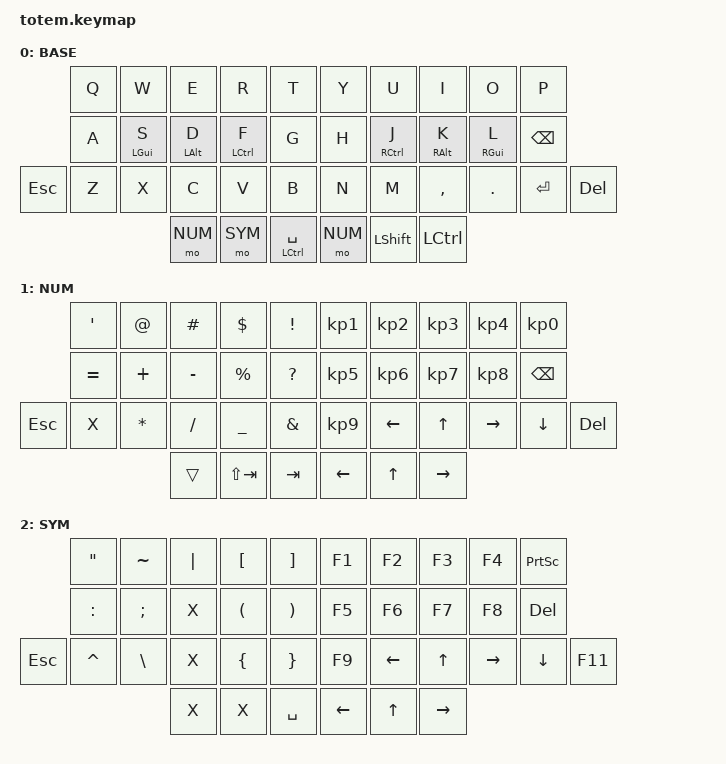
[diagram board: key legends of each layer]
//
//                                                        ▀▀▀▀▀     ▀▀▀▀▀          ▀▀█▀▀
//                                                        ▄▀▀▀▄  ▄  ▄▀▀▀▄  ▄  ▄▀▀▀▄  █  ▄▀▀▀▄
//                                                        █   █  █  █   █  █  █   █  █  █   █
//                                                         ▀▀▀   █   ▀▀▀   █   ▀▀▀   ▀   ▀▀▀
//                                                               █      ▄▄▄█▄▄▄    █   █  
//                                                               ▀      █  █  █     █▄█
//                                                             ▀▀▀▀▀    █  █  █      ▀
//                                                                      ▀  ▀  ▀
//
// ▄▄▄▄▄▄▄▄▄▄▄▄▄▄▄▄▄▄▄▄▄▄▄▄▄▄▄▄▄▄▄▄▄▄▄▄▄▄▄▄▄▄▄▄▄▄▄▄▄▄▄▄▄▄▄▄▄▄▄▄▄▄▄▄▄▄▄▄▄▄▄▄▄▄▄▄▄▄▄▄▄▄▄▄▄▄▄▄▄▄▄▄▄▄▄▄▄▄▄▄▄▄▄▄▄▄▄▄▄▄▄▄▄▄▄▄▄▄▄▄▄▄▄▄▄▄▄▄▄▄▄▄▄▄▄▄▄▄▄▄▄▄▄▄▄▄▄▄▄
       

#include <behaviors.dtsi>
#include <dt-bindings/zmk/keys.h>
#include <dt-bindings/zmk/bt.h>
#include <dt-bindings/zmk/outputs.h>

#define BASE 0
#define NUM  1
#define SYM  2

#define COMBO(NAME, BINDINGS, KEYPOS) \
  combo_##NAME { \
    timeout-ms = <50>; \
    bindings = <BINDINGS>; \
    key-positions = <KEYPOS>; \
    layers = <0>; \
  };

&mt {
  quick-tap-ms = <100>;
  global-quick-tap;
  flavor = "tap-preferred";
  tapping-term-ms = <250>;
  require-prior-idle-ms = <500>;
};


/ {
     combos {
        compatible = "zmk,combos";
        COMBO( date, &m_date, 0 1 2 )
        COMBO( esc, &kp ESC, 3 4 )
    };

    macros {

        ZMK_MACRO(m_date,
                wait-ms = <30>;
                tap-ms = <40>;
                bindings = <&kp N2 &kp N0 &kp N1 &kp N1 &kp N1 &kp N1>;
        )

    };

keymap { compatible = "zmk,keymap";

// ▄▄▄▄▄▄▄▄▄▄▄▄▄▄▄▄▄▄▄▄▄▄▄▄▄▄▄▄▄▄▄▄▄▄▄▄▄▄▄▄▄▄▄▄▄▄▄▄▄▄▄▄▄▄▄▄▄▄▄▄▄▄▄▄▄▄▄▄▄▄▄▄▄▄▄▄▄▄▄▄▄▄▄▄▄▄▄▄▄▄▄▄▄▄▄▄▄▄▄▄▄▄▄▄▄▄▄▄▄▄▄▄▄▄▄▄▄▄▄▄▄▄▄▄▄▄▄▄▄▄▄▄▄▄▄▄▄▄▄▄▄▄▄▄▄▄▄▄▄
base_layer {  label= "BASE"; bindings = <

                &kp Q       &kp W       &kp E       &kp R       &kp T           &kp Y       &kp U       &kp I       &kp O       &kp P 
                &kp A       &mt LGUI S  &mt LALT D  &mt LCTRL F &kp G           &kp H       &mt RCTRL J &mt RALT K  &mt RGUI L  &kp BSPC
    &kp ESC     &kp Z       &kp X       &kp C       &kp V       &kp B           &kp N       &kp M       &kp COMMA   &kp DOT     &kp RET     &kp DEL        
                                        &mo NUM     &mo SYM     &mt LCTL SPACE  &mo NUM     &kp LSHIFT  &kp LCTRL

>;}; // ▄▄▄▄▄▄▄▄▄▄▄▄▄▄▄▄▄▄▄▄▄▄▄▄▄▄▄▄▄▄▄▄▄▄▄▄▄▄▄▄▄▄▄▄▄▄▄▄▄▄▄▄▄▄▄▄▄▄▄▄▄▄▄▄▄▄▄▄▄▄▄▄▄▄▄▄▄▄▄▄▄▄▄▄▄▄▄▄▄▄▄▄▄▄▄▄▄▄▄▄▄▄▄▄▄▄▄▄▄▄▄▄▄▄▄▄▄▄▄▄▄▄▄▄▄▄▄▄▄▄▄▄▄▄▄▄▄▄▄▄▄▄▄▄▄▄▄▄▄
num_layer { label= "NUM"; bindings = <

                &kp SQT     &kp AT    &kp HASH     &kp DLLR     &kp EXCL        &kp KP_N1   &kp KP_N2   &kp KP_N3   &kp KP_N4    &kp KP_N0
                &kp EQUAL   &kp PLUS  &kp MINUS    &kp PRCNT    &kp QMARK       &kp KP_N5   &kp KP_N6   &kp KP_N7   &kp KP_N8    &kp BSPC
    &kp ESC     &kp X       &kp STAR  &kp SLASH    &kp UNDER    &kp AMPS        &kp KP_N9   &kp LEFT    &kp UP      &kp RIGHT    &kp DOWN    &kp DEL    
                                        &trans     &kp LS(TAB)  &kp TAB         &kp LEFT    &kp UP      &kp RIGHT      

>;}; // ▄▄▄▄▄▄▄▄▄▄▄▄▄▄▄▄▄▄▄▄▄▄▄▄▄▄▄▄▄▄▄▄▄▄▄▄▄▄▄▄▄▄▄▄▄▄▄▄▄▄▄▄▄▄▄▄▄▄▄▄▄▄▄▄▄▄▄▄▄▄▄▄▄▄▄▄▄▄▄▄▄▄▄▄▄▄▄▄▄▄▄▄▄▄▄▄▄▄▄▄▄▄▄▄▄▄▄▄▄▄▄▄▄▄▄▄▄▄▄▄▄▄▄▄▄▄▄▄▄▄▄▄▄▄▄▄▄▄▄▄▄▄▄▄▄▄▄▄▄
sym_layer { label= "SYM";  bindings = <

                &kp DQT     &kp TILDE   &kp PIPE    &kp LBKT    &kp RBKT        &kp F1      &kp F2      &kp F3      &kp F4      &kp PSCRN   
                &kp COLON   &kp SEMI    &kp X       &kp LPAR    &kp RPAR        &kp F5      &kp F6      &kp F7      &kp F8      &kp DEL
    &kp ESC     &kp CARET   &kp BSLH    &kp X       &kp LBRC    &kp RBRC        &kp F9      &kp LEFT    &kp UP      &kp RIGHT   &kp DOWN     &kp F11 
                                        &kp X       &kp X       &kp SPACE       &kp LEFT    &kp UP      &kp RIGHT            

>;}; // ▄▄▄▄▄▄▄▄▄▄▄▄▄▄▄▄▄▄▄▄▄▄▄▄▄▄▄▄▄▄▄▄▄▄▄▄▄▄▄▄▄▄▄▄▄▄▄▄▄▄▄▄▄▄▄▄▄▄▄▄▄▄▄▄▄▄▄▄▄▄▄▄▄▄▄▄▄▄▄▄▄▄▄▄▄▄▄▄▄▄▄▄▄▄▄▄▄▄▄▄▄▄▄▄▄▄▄▄▄▄▄▄▄▄▄▄▄▄▄▄▄▄▄▄▄▄▄▄▄▄▄▄▄▄▄▄▄▄▄▄▄▄▄▄▄▄▄▄▄

};};

